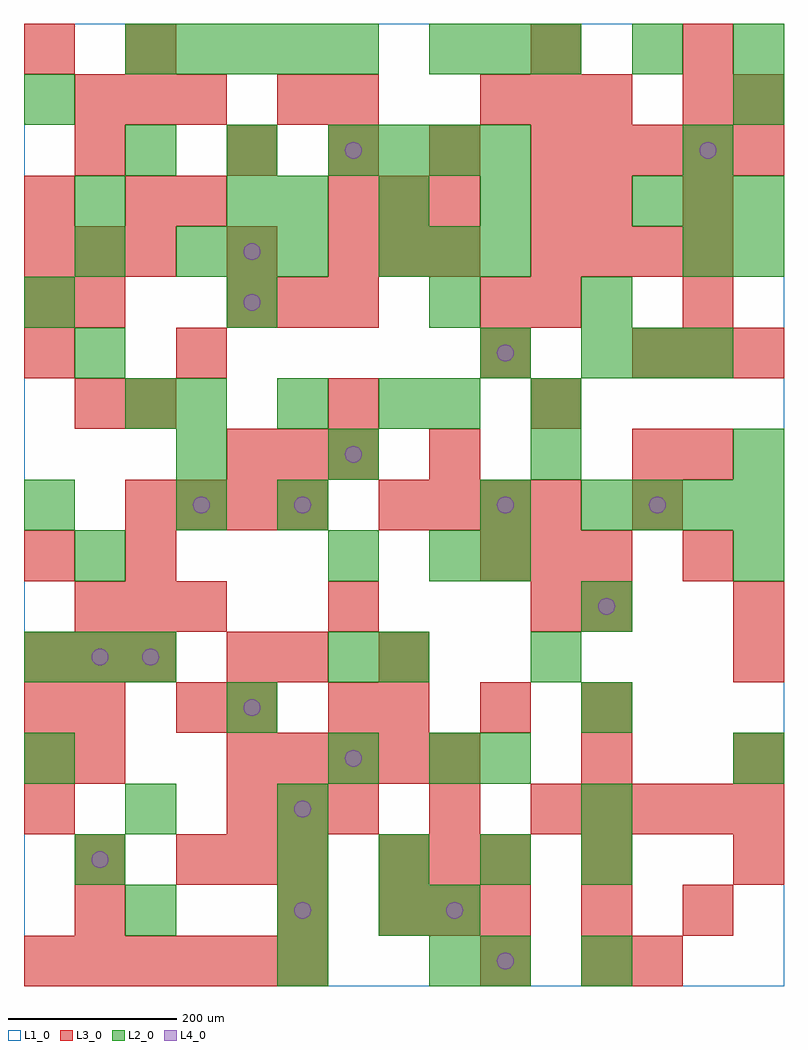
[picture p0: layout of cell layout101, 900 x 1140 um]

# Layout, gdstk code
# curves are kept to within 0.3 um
import gdstk
lib = gdstk.Library(unit=1e-6, precision=1e-09)
def R(c, l, rs):  # rectangles x0, y0, x1, y1
    for r in rs: c.add(gdstk.rectangle(r[:2], r[2:], *l))
def A(c, l, x, y, w, h, nx, ny, dx, dy):  # array of equal rectangles
    R(c, l, [(x+i*dx, y+j*dy, x+i*dx+w, y+j*dy+h) for i in range(nx) for j in range(ny)])
def P(c, l, *ps):  # polygons
    for p in ps: c.add(gdstk.Polygon(p, *l))
L1_0 = (1, 0)
L2_0 = (2, 0)
L3_0 = (3, 0)
L4_0 = (4, 0)

layout101 = lib.new_cell('layout101')
R(layout101, L1_0, [(0,0,900,1140)])
A(layout101, L2_0, 540, 0, 60, 60, 1, 3, 0, 240)
A(layout101, L2_0, 300, 120, 60, 60, 4, 1, 120, 0)
A(layout101, L2_0, 660, 180, 60, 60, 1, 3, 0, 120)
A(layout101, L2_0, 360, 240, 60, 60, 1, 3, 0, 120)
A(layout101, L2_0, 0, 360, 60, 60, 3, 1, 60, 0)
A(layout101, L2_0, 660, 540, 60, 60, 4, 1, 60, 0)
A(layout101, L2_0, 360, 600, 60, 60, 3, 1, 240, 0)
A(layout101, L2_0, 180, 660, 60, 60, 3, 1, 120, 0)
A(layout101, L2_0, 660, 720, 60, 60, 3, 1, 60, 0)
A(layout101, L2_0, 0, 780, 60, 60, 3, 1, 240, 0)
A(layout101, L2_0, 180, 840, 60, 60, 3, 1, 60, 0)
A(layout101, L2_0, 420, 840, 60, 60, 3, 2, 60, 120)
A(layout101, L2_0, 300, 900, 60, 60, 3, 1, 120, 0)
A(layout101, L2_0, 720, 900, 60, 60, 3, 1, 60, 0)
A(layout101, L2_0, 120, 960, 60, 60, 3, 1, 120, 0)
A(layout101, L2_0, 120, 1080, 60, 60, 5, 1, 60, 0)
A(layout101, L2_0, 480, 1080, 60, 60, 3, 1, 60, 0)
R(layout101, L2_0, [(300,0,360,60), (480,0,540,60), (660,0,720,60), (120,60,180,120), (300,60,360,120), (420,60,480,120), (480,60,540,120), (60,120,120,180), (120,180,180,240), (300,180,360,240), (0,240,60,300), (480,240,540,300), (840,240,900,300), (240,300,300,360), (420,360,480,420), (600,360,660,420), (60,480,120,540), (480,480,540,540), (840,480,900,540), (0,540,60,600), (180,540,240,600), (300,540,360,600), (540,540,600,600), (180,600,240,660), (120,660,180,720), (480,660,540,720), (600,660,660,720), (60,720,120,780), (540,720,600,780), (660,780,720,840), (60,840,120,900), (780,840,840,900), (840,840,900,900), (60,900,120,960), (240,900,300,960), (780,960,840,1020), (0,1020,60,1080), (840,1020,900,1080), (720,1080,780,1140), (840,1080,900,1140)])
A(layout101, L3_0, 0, 0, 60, 60, 6, 1, 60, 0)
A(layout101, L3_0, 660, 0, 60, 60, 1, 3, 0, 60)
A(layout101, L3_0, 420, 60, 60, 60, 3, 2, 60, 60)
A(layout101, L3_0, 180, 120, 60, 60, 3, 1, 60, 0)
A(layout101, L3_0, 840, 120, 60, 60, 1, 3, 0, 120)
A(layout101, L3_0, 0, 180, 60, 60, 1, 3, 0, 60)
A(layout101, L3_0, 240, 180, 60, 60, 3, 2, 60, 420)
A(layout101, L3_0, 600, 180, 60, 60, 5, 1, 60, 0)
A(layout101, L3_0, 240, 240, 60, 60, 5, 1, 60, 0)
A(layout101, L3_0, 420, 300, 60, 60, 3, 1, 120, 0)
A(layout101, L3_0, 0, 360, 60, 60, 3, 2, 60, 480)
A(layout101, L3_0, 60, 420, 60, 60, 3, 2, 60, 600)
A(layout101, L3_0, 540, 480, 60, 60, 3, 2, 60, 540)
A(layout101, L3_0, 120, 540, 60, 60, 4, 1, 60, 0)
A(layout101, L3_0, 420, 540, 60, 60, 4, 1, 60, 0)
A(layout101, L3_0, 120, 660, 60, 60, 3, 1, 240, 0)
A(layout101, L3_0, 720, 720, 60, 60, 3, 1, 60, 0)
A(layout101, L3_0, 240, 780, 60, 60, 3, 1, 60, 0)
A(layout101, L3_0, 780, 780, 60, 60, 1, 3, 0, 120)
A(layout101, L3_0, 360, 840, 60, 60, 3, 2, 60, 60)
A(layout101, L3_0, 600, 840, 60, 60, 4, 1, 60, 0)
A(layout101, L3_0, 240, 960, 60, 60, 4, 1, 120, 0)
A(layout101, L3_0, 660, 960, 60, 60, 4, 1, 60, 0)
R(layout101, L3_0, [(540,0,600,60), (720,0,780,60), (60,60,120,120), (300,60,360,120), (780,60,840,120), (60,120,120,180), (480,180,540,240), (60,240,120,300), (660,240,720,300), (60,300,120,360), (180,300,240,360), (240,300,300,360), (360,300,420,360), (240,360,300,420), (300,360,360,420), (420,360,480,420), (360,420,420,480), (600,420,660,480), (660,420,720,480), (840,420,900,480), (0,480,60,540), (120,480,180,540), (780,480,840,540), (720,540,780,600), (480,600,540,660), (720,600,780,660), (780,600,840,660), (60,660,120,720), (0,720,60,780), (180,720,240,780), (540,720,600,780), (0,780,60,840), (60,780,120,840), (540,780,600,840), (600,780,660,840), (240,840,300,900), (0,900,60,960), (120,900,180,960), (180,900,240,960), (600,900,660,960), (660,900,720,960), (60,960,120,1020), (300,1020,360,1080), (360,1020,420,1080), (840,1020,900,1080), (0,1080,60,1140), (120,1080,180,1140), (600,1080,660,1140), (780,1080,840,1140)])
P(layout101, L4_0, [(100,150),(99.239,153.827),(97.071,157.071),(93.827,159.239),(90,160),(86.173,159.239),(82.929,157.071),(80.761,153.827),(80,150),(80.761,146.173),(82.929,142.929),(86.173,140.761),(90,140),(93.827,140.761),(97.071,142.929),(99.239,146.173)],
  [(100,390),(99.239,393.827),(97.071,397.071),(93.827,399.239),(90,400),(86.173,399.239),(82.929,397.071),(80.761,393.827),(80,390),(80.761,386.173),(82.929,382.929),(86.173,380.761),(90,380),(93.827,380.761),(97.071,382.929),(99.239,386.173)],
  [(160,390),(159.239,393.827),(157.071,397.071),(153.827,399.239),(150,400),(146.173,399.239),(142.929,397.071),(140.761,393.827),(140,390),(140.761,386.173),(142.929,382.929),(146.173,380.761),(150,380),(153.827,380.761),(157.071,382.929),(159.239,386.173)],
  [(220,570),(219.239,573.827),(217.071,577.071),(213.827,579.239),(210,580),(206.173,579.239),(202.929,577.071),(200.761,573.827),(200,570),(200.761,566.173),(202.929,562.929),(206.173,560.761),(210,560),(213.827,560.761),(217.071,562.929),(219.239,566.173)],
  [(280,330),(279.239,333.827),(277.071,337.071),(273.827,339.239),(270,340),(266.173,339.239),(262.929,337.071),(260.761,333.827),(260,330),(260.761,326.173),(262.929,322.929),(266.173,320.761),(270,320),(273.827,320.761),(277.071,322.929),(279.239,326.173)],
  [(280,810),(279.239,813.827),(277.071,817.071),(273.827,819.239),(270,820),(266.173,819.239),(262.929,817.071),(260.761,813.827),(260,810),(260.761,806.173),(262.929,802.929),(266.173,800.761),(270,800),(273.827,800.761),(277.071,802.929),(279.239,806.173)],
  [(280,870),(279.239,873.827),(277.071,877.071),(273.827,879.239),(270,880),(266.173,879.239),(262.929,877.071),(260.761,873.827),(260,870),(260.761,866.173),(262.929,862.929),(266.173,860.761),(270,860),(273.827,860.761),(277.071,862.929),(279.239,866.173)],
  [(340,90),(339.239,93.827),(337.071,97.071),(333.827,99.239),(330,100),(326.173,99.239),(322.929,97.071),(320.761,93.827),(320,90),(320.761,86.173),(322.929,82.929),(326.173,80.761),(330,80),(333.827,80.761),(337.071,82.929),(339.239,86.173)],
  [(340,210),(339.239,213.827),(337.071,217.071),(333.827,219.239),(330,220),(326.173,219.239),(322.929,217.071),(320.761,213.827),(320,210),(320.761,206.173),(322.929,202.929),(326.173,200.761),(330,200),(333.827,200.761),(337.071,202.929),(339.239,206.173)],
  [(340,570),(339.239,573.827),(337.071,577.071),(333.827,579.239),(330,580),(326.173,579.239),(322.929,577.071),(320.761,573.827),(320,570),(320.761,566.173),(322.929,562.929),(326.173,560.761),(330,560),(333.827,560.761),(337.071,562.929),(339.239,566.173)],
  [(400,270),(399.239,273.827),(397.071,277.071),(393.827,279.239),(390,280),(386.173,279.239),(382.929,277.071),(380.761,273.827),(380,270),(380.761,266.173),(382.929,262.929),(386.173,260.761),(390,260),(393.827,260.761),(397.071,262.929),(399.239,266.173)],
  [(400,630),(399.239,633.827),(397.071,637.071),(393.827,639.239),(390,640),(386.173,639.239),(382.929,637.071),(380.761,633.827),(380,630),(380.761,626.173),(382.929,622.929),(386.173,620.761),(390,620),(393.827,620.761),(397.071,622.929),(399.239,626.173)],
  [(400,990),(399.239,993.827),(397.071,997.071),(393.827,999.239),(390,1000),(386.173,999.239),(382.929,997.071),(380.761,993.827),(380,990),(380.761,986.173),(382.929,982.929),(386.173,980.761),(390,980),(393.827,980.761),(397.071,982.929),(399.239,986.173)],
  [(520,90),(519.239,93.827),(517.071,97.071),(513.827,99.239),(510,100),(506.173,99.239),(502.929,97.071),(500.761,93.827),(500,90),(500.761,86.173),(502.929,82.929),(506.173,80.761),(510,80),(513.827,80.761),(517.071,82.929),(519.239,86.173)],
  [(580,30),(579.239,33.827),(577.071,37.071),(573.827,39.239),(570,40),(566.173,39.239),(562.929,37.071),(560.761,33.827),(560,30),(560.761,26.173),(562.929,22.929),(566.173,20.761),(570,20),(573.827,20.761),(577.071,22.929),(579.239,26.173)],
  [(580,570),(579.239,573.827),(577.071,577.071),(573.827,579.239),(570,580),(566.173,579.239),(562.929,577.071),(560.761,573.827),(560,570),(560.761,566.173),(562.929,562.929),(566.173,560.761),(570,560),(573.827,560.761),(577.071,562.929),(579.239,566.173)],
  [(580,750),(579.239,753.827),(577.071,757.071),(573.827,759.239),(570,760),(566.173,759.239),(562.929,757.071),(560.761,753.827),(560,750),(560.761,746.173),(562.929,742.929),(566.173,740.761),(570,740),(573.827,740.761),(577.071,742.929),(579.239,746.173)],
  [(700,450),(699.239,453.827),(697.071,457.071),(693.827,459.239),(690,460),(686.173,459.239),(682.929,457.071),(680.761,453.827),(680,450),(680.761,446.173),(682.929,442.929),(686.173,440.761),(690,440),(693.827,440.761),(697.071,442.929),(699.239,446.173)],
  [(760,570),(759.239,573.827),(757.071,577.071),(753.827,579.239),(750,580),(746.173,579.239),(742.929,577.071),(740.761,573.827),(740,570),(740.761,566.173),(742.929,562.929),(746.173,560.761),(750,560),(753.827,560.761),(757.071,562.929),(759.239,566.173)],
  [(820,990),(819.239,993.827),(817.071,997.071),(813.827,999.239),(810,1000),(806.173,999.239),(802.929,997.071),(800.761,993.827),(800,990),(800.761,986.173),(802.929,982.929),(806.173,980.761),(810,980),(813.827,980.761),(817.071,982.929),(819.239,986.173)])

lib.write_gds('layout101.gds')
